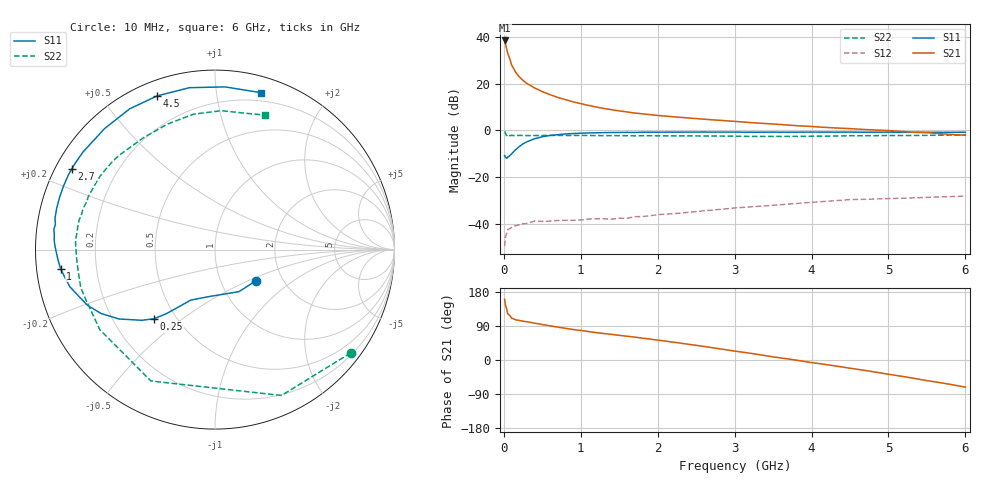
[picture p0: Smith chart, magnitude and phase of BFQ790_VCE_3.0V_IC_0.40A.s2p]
! Infineon Technologies  Discrete & RF Semiconductors
! BFQ790
! VCE =  3.0 V,  IC = 0.40 A
! Common Emitter S-Parameters:  May 2015
# GHz  S  MA  R  50
!  f  S11  S21  S12  S22
! GHz  MAG  ANG  MAG  ANG  MAG  ANG  MAG  ANG
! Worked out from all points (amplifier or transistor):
!   77 points, 10 MHz to 6 GHz, reference 50 ohm
!   highest |S21| = 38.5 dB at 10 MHz (marker M1)
!   |S21| within 3 dB of that: start of sweep to 32.58 MHz
!   unconditionally stable (mu >= 1): 171.5 MHz to end of sweep
!   at 130 MHz: K = 0.87, MSG = 33.8 dB, |S12| = -41.2 dB
!   at 2.2 GHz: K = 1.38, MAG = 17.1 dB, |S12| = -35.7 dB
!   at 6 GHz: K = 1.10, MAG = 11.0 dB, |S12| = -28.1 dB
!   S11 on the Smith chart (normalised r, x): 10 MHz: 1.47, -0.55; 250 MHz: 0.38, -0.40; 1 GHz: 0.07, -0.06; 2.7 GHz: 0.05, +0.26; 4.5 GHz: 0.07, +0.69; 6 GHz: 0.13, +1.33
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0.01  0.2874 -36.9  83.95 160.1  0.0033 71.4  0.9502 -37.3
0.02  0.2698 -60.2  72.32 145.4  0.0051 55.0  0.8931 -65.5
0.05  0.2644 -97.7  44.28 122.0  0.0074 30.7  0.8144 -116.0
0.1  0.3119 -115.6  25.2 110.5  0.0083 20.3  0.7816 -145.2
0.15  0.3795 -122.5  17.76 106.3  0.009 18.4  0.7712 -157.8
0.2  0.4469 -127.1  13.98 104.3  0.0095 19.9  0.7773 -164.2
0.25  0.5135 -131.4  11.68 102.4  0.01 19.9  0.7728 -168.6
0.3  0.5671 -136.0  10.05 100.9  0.0101 15.7  0.7716 -171.9
0.4  0.6598 -144.1  8.053 97.1  0.0114 16.4  0.7728 -176.6
0.5  0.7279 -150.7  6.729 93.6  0.0112 12.6  0.7744 -180.0
0.7  0.8055 -161.6  5.07 86.8  0.0117 18.3  0.7771 174.8
0.9  0.8522 -169.8  4.069 80.5  0.0118 12.6  0.7748 171.3
1  0.8669 -173.0  3.723 77.9  0.012 14.7  0.7757 169.5
1.1  0.8768 -176.3  3.409 75.1  0.0126 15.9  0.7746 167.7
1.5  0.8991 174.7  2.603 65.1  0.0131 18.7  0.7681 162.0
2.1  0.9122 163.4  2.014 49.9  0.016 18.7  0.7609 153.1
2.7  0.9156 150.7  1.682 32.8  0.0195 14.5  0.7538 141.3
3.1  0.9115 141.4  1.508 20.8  0.0223 9.2  0.7435 132.3
4.1  0.9142 119.1  1.176 -9.5  0.0294 -5.5  0.7484 108.5
4.5  0.9151 110.6  1.087 -21.7  0.0328 -13.4  0.7639 99.1
5.1  0.9088 96.5  0.962 -40.7  0.0348 -26.3  0.7737 85.3
6  0.9111 73.7  0.785 -71.6  0.0392 -47.7  0.799 69.8
